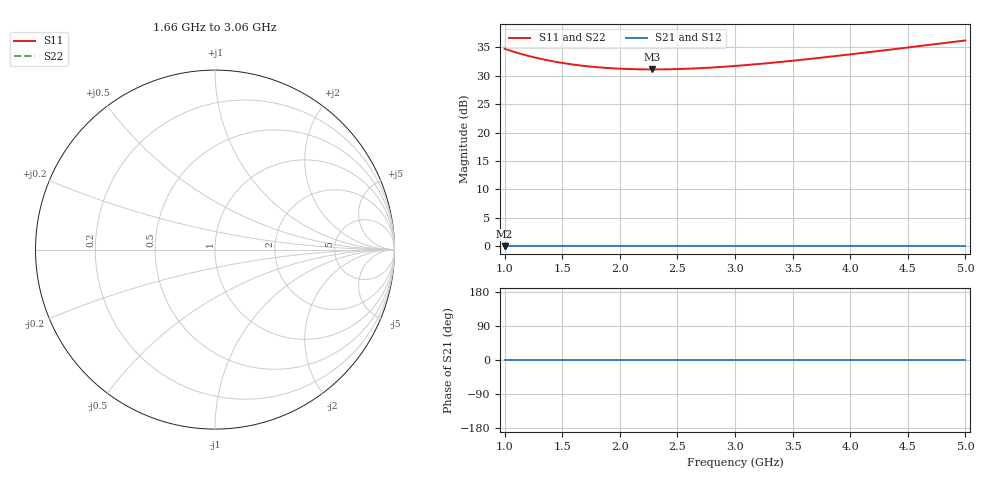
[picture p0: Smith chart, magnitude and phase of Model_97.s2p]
# GHZ S RI R 50
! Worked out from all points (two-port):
!   401 points, 1 GHz to 5 GHz, reference 50 ohm
!   highest |S21| = 0.00 dB at 1 GHz (marker M1); lowest = 0.0 dB at 1 GHz (marker M2)
!   |S21| within 3 dB of the highest: start of sweep to end of sweep
!   lowest |S11| = 31.1 dB at 2.28 GHz (marker M3)
!   |S11| at or under -10 dB: nowhere
!   |S22| runs from 31.1 to 36.2 dB; largest |S21 - S12| = 0
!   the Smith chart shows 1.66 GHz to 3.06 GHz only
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1  54.7 0  1 0  1 0  54.7 0
1.15  49.01 0  1 0  1 0  49.01 0
1.22  46.93 0  1 0  1 0  46.93 0
1.3  44.88 0  1 0  1 0  44.88 0
1.38  43.15 0  1 0  1 0  43.15 0
1.47  41.52 0  1 0  1 0  41.52 0
1.57  40.03 0  1 0  1 0  40.03 0
1.67  38.84 0  1 0  1 0  38.84 0
1.81  37.58 0  1 0  1 0  37.58 0
1.96  36.68 0  1 0  1 0  36.68 0
2.12  36.14 0  1 0  1 0  36.14 0
2.28  35.96 0  1 0  1 0  35.96 0
2.34  35.98 0  1 0  1 0  35.98 0
2.5  36.23 0  1 0  1 0  36.23 0
2.66  36.74 0  1 0  1 0  36.74 0
3  38.59 0  1 0  1 0  38.59 0
3.33  41.24 0  1 0  1 0  41.24 0
3.67  44.74 0  1 0  1 0  44.74 0
4  48.8 0  1 0  1 0  48.8 0
4.34  53.63 0  1 0  1 0  53.63 0
4.63  58.22 0  1 0  1 0  58.22 0
5  64.71 0  1 0  1 0  64.71 0
